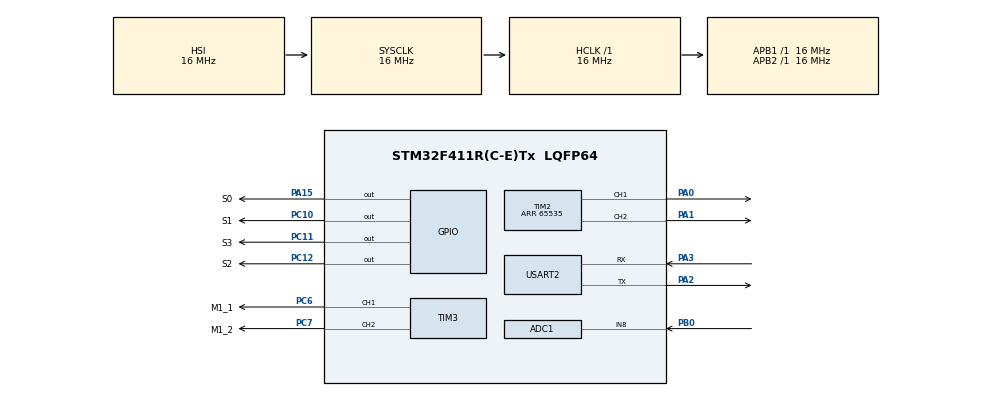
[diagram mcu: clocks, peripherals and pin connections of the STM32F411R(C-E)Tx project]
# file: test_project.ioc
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ADC1.Channel-0\#ChannelRegularConversion=ADC_CHANNEL_8
ADC1.NbrOfConversion=1
ADC1.NbrOfConversionFlag=1
ADC1.Rank-0\#ChannelRegularConversion=1
ADC1.SamplingTime-0\#ChannelRegularConversion=ADC_SAMPLETIME_3CYCLES
ADC1.master=1
Mcu.Family=STM32F4
Mcu.Name=STM32F411R(C-E)Tx
Mcu.Package=LQFP64
NVIC.PriorityGroup=NVIC_PRIORITYGROUP_4
PA0-WKUP.Signal=S_TIM2_CH1_ETR
PA1.Signal=S_TIM2_CH2
PA15.GPIO_Label=S0
PA15.Signal=GPIO_Output
PA2.Mode=Asynchronous
PA2.Signal=USART2_TX
PA3.Mode=Asynchronous
PA3.Signal=USART2_RX
PB0.Signal=ADCx_IN8
PC10.GPIO_Label=S1
PC10.Signal=GPIO_Output
PC11.GPIO_Label=S3
PC11.Signal=GPIO_Output
PC12.GPIO_Label=S2
PC12.Signal=GPIO_Output
PC6.GPIO_Label=M1_1
PC6.Signal=S_TIM3_CH1
PC7.GPIO_Label=M1_2
PC7.Signal=S_TIM3_CH2
ProjectManager.HeapSize=0x200
ProjectManager.StackSize=0x400
ProjectManager.TargetToolchain=STM32CubeIDE
RCC.48MHZClocksFreq_Value=48000000
RCC.AHBFreq_Value=16000000
RCC.APB1Freq_Value=16000000
RCC.APB1TimFreq_Value=16000000
RCC.APB2Freq_Value=16000000
RCC.APB2TimFreq_Value=16000000
RCC.CortexFreq_Value=16000000
RCC.HCLKFreq_Value=16000000
RCC.HSE_VALUE=25000000
RCC.HSI_VALUE=16000000
RCC.LSE_VALUE=32768
RCC.SYSCLKFreq_VALUE=16000000
RCC.VCOOutputFreq_Value=192000000
SH.ADCx_IN8.0=ADC1_IN8,IN8
SH.S_TIM2_CH1_ETR.0=TIM2_CH1,PWM Generation1 CH1
SH.S_TIM2_CH2.0=TIM2_CH2,PWM Generation2 CH2
SH.S_TIM3_CH1.0=TIM3_CH1,PWM Generation1 CH1
SH.S_TIM3_CH2.0=TIM3_CH2,PWM Generation2 CH2
TIM2.Channel-PWM\ Generation1\ CH1=TIM_CHANNEL_1
TIM2.Channel-PWM\ Generation2\ CH2=TIM_CHANNEL_2
TIM2.Period=65535
TIM3.Channel-PWM\ Generation1\ CH1=TIM_CHANNEL_1
TIM3.Channel-PWM\ Generation2\ CH2=TIM_CHANNEL_2
USART2.VirtualMode=VM_ASYNC
VP_TIM2_VS_ClockSourceINT.Mode=Internal
VP_TIM3_VS_ClockSourceINT.Mode=Internal
board=custom

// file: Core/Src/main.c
/* USER CODE BEGIN Header */
/**
  ******************************************************************************
  * @file           : main.c
  * @brief          : Main program body
  ******************************************************************************
  * @attention
  *
  * Copyright (c) 2024 STMicroelectronics.
  * All rights reserved.
  *
  * This software is licensed under terms that can be found in the LICENSE file
  * in the root directory of this software component.
  * If no LICENSE file comes with this software, it is provided AS-IS.
  *
  ******************************************************************************
  */
/* USER CODE END Header */
#include "main.h"

/* USER CODE BEGIN PD */
#define PUTCHAR_PROTOTYPE int __io_putchar(int ch)
/* USER CODE END PD */

ADC_HandleTypeDef hadc1;

TIM_HandleTypeDef htim2;
TIM_HandleTypeDef htim3;

UART_HandleTypeDef huart2;

void SystemClock_Config(void);
static void MX_GPIO_Init(void);
static void MX_TIM3_Init(void);
static void MX_TIM2_Init(void);
static void MX_ADC1_Init(void);
static void MX_USART2_UART_Init(void);

/* USER CODE BEGIN 0 */
/**
  * @brief  Retargets the C library printf function to the USART.
  * @param  None
  * @retval None
  */
PUTCHAR_PROTOTYPE
{
  /* Place your implementation of fputc here */
  /* e.g. write a character to the USART1 and Loop until the end of transmission */
  HAL_UART_Transmit(&huart2, (uint8_t *)&ch, 1, 0xFFFF);

  return ch;
}

/* USER CODE END 0 */

int main(void)
{

  /* MCU Configuration--------------------------------------------------------*/

  /* Reset of all peripherals, Initializes the Flash interface and the Systick. */
  HAL_Init();

  /* Configure the system clock */
  SystemClock_Config();

  /* Initialize all configured peripherals */
  MX_GPIO_Init();
  MX_TIM3_Init();
  MX_TIM2_Init();
  MX_ADC1_Init();
  MX_USART2_UART_Init();
  /* USER CODE BEGIN 2 */
  HAL_Delay(1);
  HAL_TIM_PWM_Start(&htim3, TIM_CHANNEL_1);
  HAL_TIM_PWM_Start(&htim3, TIM_CHANNEL_2);
  TIM3->CCR1 = 32000;
  TIM3->CCR2 = 0;

  HAL_TIM_PWM_Start(&htim2, TIM_CHANNEL_1);
  HAL_TIM_PWM_Start(&htim2, TIM_CHANNEL_2);
  TIM2->CCR1 = 32000;
  TIM2->CCR2 = 0;

  uint16_t adc_val = 0;
  /* USER CODE END 2 */

  /* Infinite loop */
  /* USER CODE BEGIN WHILE */
  while (1)
  {   for(uint8_t i = 0; i < 16; i++) {

	  HAL_GPIO_WritePin(GPIOA, S0_Pin, (i & 0x01));
	  HAL_GPIO_WritePin(GPIOC, S1_Pin, (i >> 1) & 0x01);
	  HAL_GPIO_WritePin(GPIOC, S2_Pin, (i >> 2) & 0x01);
	  HAL_GPIO_WritePin(GPIOC, S3_Pin, (i >> 3) & 0x01);

	  HAL_ADC_Start(&hadc1);
  	  HAL_ADC_PollForConversion(&hadc1, 100);
  	  adc_val = HAL_ADC_GetValue(&hadc1);
  	  HAL_Delay(500);
  }

  	  	  	 //HAL_UART_Transmit(&huart2, (uint8_t *)cmd, sizeof(cmd)/sizeof(0[cmd]), 10);
    /* USER CODE END WHILE */

  }
}

void SystemClock_Config(void)
{
  RCC_OscInitTypeDef RCC_OscInitStruct = {0};
  RCC_ClkInitTypeDef RCC_ClkInitStruct = {0};

  /** Configure the main internal regulator output voltage
  */
  __HAL_RCC_PWR_CLK_ENABLE();
  __HAL_PWR_VOLTAGESCALING_CONFIG(PWR_REGULATOR_VOLTAGE_SCALE1);

  /** Initializes the RCC Oscillators according to the specified parameters
  * in the RCC_OscInitTypeDef structure.
  */
  RCC_OscInitStruct.OscillatorType = RCC_OSCILLATORTYPE_HSI;
  RCC_OscInitStruct.HSIState = RCC_HSI_ON;
  RCC_OscInitStruct.HSICalibrationValue = RCC_HSICALIBRATION_DEFAULT;
  RCC_OscInitStruct.PLL.PLLState = RCC_PLL_NONE;
  if (HAL_RCC_OscConfig(&RCC_OscInitStruct) != HAL_OK)
  {
    Error_Handler();
  }

  /** Initializes the CPU, AHB and APB buses clocks
  */
  RCC_ClkInitStruct.ClockType = RCC_CLOCKTYPE_HCLK|RCC_CLOCKTYPE_SYSCLK
                              |RCC_CLOCKTYPE_PCLK1|RCC_CLOCKTYPE_PCLK2;
  RCC_ClkInitStruct.SYSCLKSource = RCC_SYSCLKSOURCE_HSI;
  RCC_ClkInitStruct.AHBCLKDivider = RCC_SYSCLK_DIV1;
  RCC_ClkInitStruct.APB1CLKDivider = RCC_HCLK_DIV1;
  RCC_ClkInitStruct.APB2CLKDivider = RCC_HCLK_DIV1;

  if (HAL_RCC_ClockConfig(&RCC_ClkInitStruct, FLASH_LATENCY_0) != HAL_OK)
  {
    Error_Handler();
  }
}

static void MX_ADC1_Init(void)
{

  ADC_ChannelConfTypeDef sConfig = {0};

  /** Configure the global features of the ADC (Clock, Resolution, Data Alignment and number of conversion)
  */
  hadc1.Instance = ADC1;
  hadc1.Init.ClockPrescaler = ADC_CLOCK_SYNC_PCLK_DIV2;
  hadc1.Init.Resolution = ADC_RESOLUTION_12B;
  hadc1.Init.ScanConvMode = DISABLE;
  hadc1.Init.ContinuousConvMode = DISABLE;
  hadc1.Init.DiscontinuousConvMode = DISABLE;
  hadc1.Init.ExternalTrigConvEdge = ADC_EXTERNALTRIGCONVEDGE_NONE;
  hadc1.Init.ExternalTrigConv = ADC_SOFTWARE_START;
  hadc1.Init.DataAlign = ADC_DATAALIGN_RIGHT;
  hadc1.Init.NbrOfConversion = 1;
  hadc1.Init.DMAContinuousRequests = DISABLE;
  hadc1.Init.EOCSelection = ADC_EOC_SINGLE_CONV;
  if (HAL_ADC_Init(&hadc1) != HAL_OK)
  {
    Error_Handler();
  }

  /** Configure for the selected ADC regular channel its corresponding rank in the sequencer and its sample time.
  */
  sConfig.Channel = ADC_CHANNEL_8;
  sConfig.Rank = 1;
  sConfig.SamplingTime = ADC_SAMPLETIME_3CYCLES;
  if (HAL_ADC_ConfigChannel(&hadc1, &sConfig) != HAL_OK)
  {
    Error_Handler();
  }

}

static void MX_TIM2_Init(void)
{

  TIM_ClockConfigTypeDef sClockSourceConfig = {0};
  TIM_MasterConfigTypeDef sMasterConfig = {0};
  TIM_OC_InitTypeDef sConfigOC = {0};

  htim2.Instance = TIM2;
  htim2.Init.Prescaler = 0;
  htim2.Init.CounterMode = TIM_COUNTERMODE_UP;
  htim2.Init.Period = 65535;
  htim2.Init.ClockDivision = TIM_CLOCKDIVISION_DIV1;
  htim2.Init.AutoReloadPreload = TIM_AUTORELOAD_PRELOAD_DISABLE;
  if (HAL_TIM_Base_Init(&htim2) != HAL_OK)
  {
    Error_Handler();
  }
  sClockSourceConfig.ClockSource = TIM_CLOCKSOURCE_INTERNAL;
  if (HAL_TIM_ConfigClockSource(&htim2, &sClockSourceConfig) != HAL_OK)
  {
    Error_Handler();
  }
  if (HAL_TIM_PWM_Init(&htim2) != HAL_OK)
  {
    Error_Handler();
  }
  sMasterConfig.MasterOutputTrigger = TIM_TRGO_RESET;
  sMasterConfig.MasterSlaveMode = TIM_MASTERSLAVEMODE_DISABLE;
  if (HAL_TIMEx_MasterConfigSynchronization(&htim2, &sMasterConfig) != HAL_OK)
  {
    Error_Handler();
  }
  sConfigOC.OCMode = TIM_OCMODE_PWM1;
  sConfigOC.Pulse = 0;
  sConfigOC.OCPolarity = TIM_OCPOLARITY_HIGH;
  sConfigOC.OCFastMode = TIM_OCFAST_DISABLE;
  if (HAL_TIM_PWM_ConfigChannel(&htim2, &sConfigOC, TIM_CHANNEL_1) != HAL_OK)
  {
    Error_Handler();
  }
  if (HAL_TIM_PWM_ConfigChannel(&htim2, &sConfigOC, TIM_CHANNEL_2) != HAL_OK)
  {
    Error_Handler();
  }
  HAL_TIM_MspPostInit(&htim2);

}

static void MX_TIM3_Init(void)
{

  TIM_ClockConfigTypeDef sClockSourceConfig = {0};
  TIM_MasterConfigTypeDef sMasterConfig = {0};
  TIM_OC_InitTypeDef sConfigOC = {0};

  htim3.Instance = TIM3;
  htim3.Init.Prescaler = 0;
  htim3.Init.CounterMode = TIM_COUNTERMODE_UP;
  htim3.Init.Period = 65535;
  htim3.Init.ClockDivision = TIM_CLOCKDIVISION_DIV1;
  htim3.Init.AutoReloadPreload = TIM_AUTORELOAD_PRELOAD_DISABLE;
  if (HAL_TIM_Base_Init(&htim3) != HAL_OK)
  {
    Error_Handler();
  }
  sClockSourceConfig.ClockSource = TIM_CLOCKSOURCE_INTERNAL;
  if (HAL_TIM_ConfigClockSource(&htim3, &sClockSourceConfig) != HAL_OK)
  {
    Error_Handler();
  }
  if (HAL_TIM_PWM_Init(&htim3) != HAL_OK)
  {
    Error_Handler();
  }
  sMasterConfig.MasterOutputTrigger = TIM_TRGO_RESET;
  sMasterConfig.MasterSlaveMode = TIM_MASTERSLAVEMODE_DISABLE;
  if (HAL_TIMEx_MasterConfigSynchronization(&htim3, &sMasterConfig) != HAL_OK)
  {
    Error_Handler();
  }
  sConfigOC.OCMode = TIM_OCMODE_PWM1;
  sConfigOC.Pulse = 0;
  sConfigOC.OCPolarity = TIM_OCPOLARITY_HIGH;
  sConfigOC.OCFastMode = TIM_OCFAST_DISABLE;
  if (HAL_TIM_PWM_ConfigChannel(&htim3, &sConfigOC, TIM_CHANNEL_1) != HAL_OK)
  {
    Error_Handler();
  }
  if (HAL_TIM_PWM_ConfigChannel(&htim3, &sConfigOC, TIM_CHANNEL_2) != HAL_OK)
  {
    Error_Handler();
  }
  HAL_TIM_MspPostInit(&htim3);

}

static void MX_USART2_UART_Init(void)
{

  huart2.Instance = USART2;
  huart2.Init.BaudRate = 115200;
  huart2.Init.WordLength = UART_WORDLENGTH_8B;
  huart2.Init.StopBits = UART_STOPBITS_1;
  huart2.Init.Parity = UART_PARITY_NONE;
  huart2.Init.Mode = UART_MODE_TX_RX;
  huart2.Init.HwFlowCtl = UART_HWCONTROL_NONE;
  huart2.Init.OverSampling = UART_OVERSAMPLING_16;
  if (HAL_UART_Init(&huart2) != HAL_OK)
  {
    Error_Handler();
  }

}

static void MX_GPIO_Init(void)
{
  GPIO_InitTypeDef GPIO_InitStruct = {0};

  /* GPIO Ports Clock Enable */
  __HAL_RCC_GPIOA_CLK_ENABLE();
  __HAL_RCC_GPIOB_CLK_ENABLE();
  __HAL_RCC_GPIOC_CLK_ENABLE();

  /*Configure GPIO pin Output Level */
  HAL_GPIO_WritePin(S0_GPIO_Port, S0_Pin, GPIO_PIN_RESET);

  /*Configure GPIO pin Output Level */
  HAL_GPIO_WritePin(GPIOC, S1_Pin|S3_Pin|S2_Pin, GPIO_PIN_RESET);

  /*Configure GPIO pin : S0_Pin */
  GPIO_InitStruct.Pin = S0_Pin;
  GPIO_InitStruct.Mode = GPIO_MODE_OUTPUT_PP;
  GPIO_InitStruct.Pull = GPIO_NOPULL;
  GPIO_InitStruct.Speed = GPIO_SPEED_FREQ_LOW;
  HAL_GPIO_Init(S0_GPIO_Port, &GPIO_InitStruct);

  /*Configure GPIO pins : S1_Pin S3_Pin S2_Pin */
  GPIO_InitStruct.Pin = S1_Pin|S3_Pin|S2_Pin;
  GPIO_InitStruct.Mode = GPIO_MODE_OUTPUT_PP;
  GPIO_InitStruct.Pull = GPIO_NOPULL;
  GPIO_InitStruct.Speed = GPIO_SPEED_FREQ_LOW;
  HAL_GPIO_Init(GPIOC, &GPIO_InitStruct);

}

void Error_Handler(void)
{
  __disable_irq();
  while (1)
  {
  }
}
